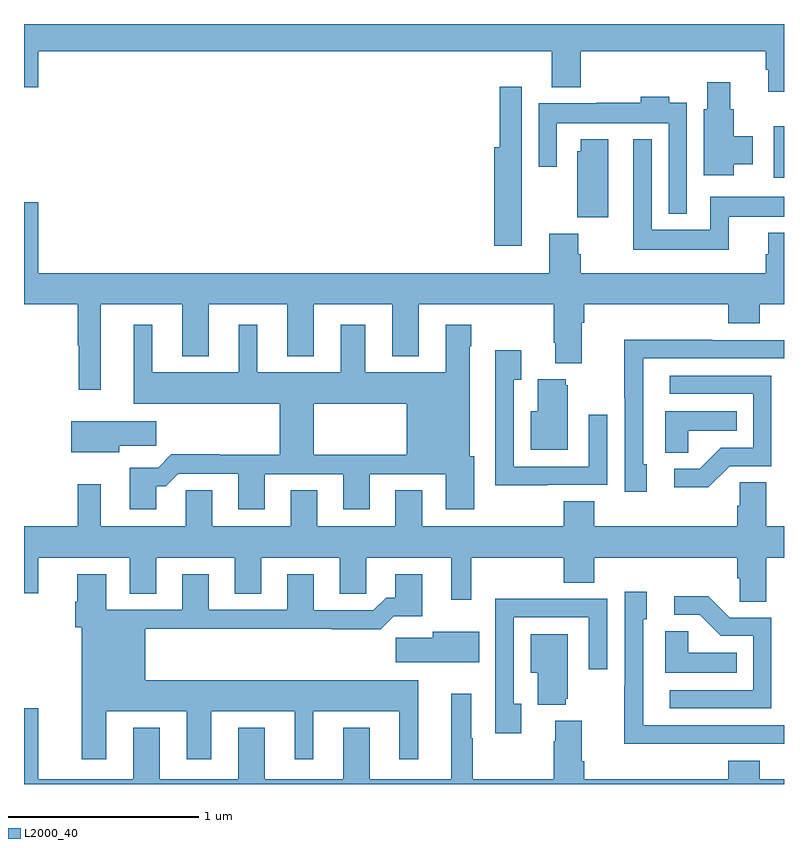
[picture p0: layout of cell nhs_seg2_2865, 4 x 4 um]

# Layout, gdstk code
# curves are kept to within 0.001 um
import gdstk
lib = gdstk.Library(unit=1e-6, precision=1e-09)
def R(c, l, rs):  # rectangles x0, y0, x1, y1
    for r in rs: c.add(gdstk.rectangle(r[:2], r[2:], *l))
def P(c, l, *ps):  # polygons
    for p in ps: c.add(gdstk.Polygon(p, *l))
L2000_40 = (2000, 40)

nhs_seg2_2865 = lib.new_cell('nhs_seg2_2865')
R(nhs_seg2_2865, L2000_40, [(264.947,626.99,265,627.262)])
P(nhs_seg2_2865, L2000_40, [(265,627.8),(261,627.8),(261,627.468),(261.076,627.468),(261.076,627.656),(263.777,627.656),(263.777,627.467),(263.93,627.467),(263.93,627.656),(264.905,627.656),(264.905,627.558),(264.917,627.558),(264.917,627.444),(265,627.444)],
  [(264.736,627.062),(264.835,627.062),(264.835,627.21),(264.736,627.21),(264.736,627.351),(264.718,627.351),(264.718,627.493),(264.596,627.493),(264.596,627.351),(264.578,627.351),(264.578,627.003),(264.736,627.003)],
  [(263.62,627.047),(263.619,627.047),(263.619,627.469),(263.503,627.469),(263.503,627.151),(263.474,627.151),(263.474,626.634),(263.62,626.634)],
  [(264.489,627.385),(264.397,627.385),(264.397,627.418),(264.245,627.418),(264.245,627.385),(264.013,627.385),(264.013,627.382),(263.709,627.382),(263.709,627.048),(263.805,627.048),(263.805,627.278),(264.393,627.278),(264.393,626.801),(264.489,626.801)],
  [(264.71,626.786),(265,626.786),(265,626.89),(264.612,626.89),(264.612,626.716),(264.303,626.716),(264.303,627.193),(264.206,627.193),(264.206,626.612),(264.71,626.612)],
  [(264.076,627.193),(263.93,627.193),(263.93,627.129),(263.912,627.129),(263.912,626.782),(264.076,626.782)],
  [(261.076,626.863),(261,626.863),(261,626.324),(261.282,626.324),(261.282,626.108),(261.289,626.108),(261.289,625.875),(261.403,625.875),(261.403,626.324),(261.833,626.324),(261.833,626.051),(261.973,626.051),(261.973,626.324),(262.385,626.324),(262.385,626.051),(262.525,626.051),(262.525,626.324),(262.937,626.324),(262.937,626.051),(263.077,626.051),(263.077,626.324),(263.788,626.324),(263.788,626.122),(263.795,626.122),(263.795,626.015),(263.935,626.015),(263.935,626.228),(263.948,626.228),(263.948,626.324),(264.707,626.324),(264.707,626.225),(264.872,626.225),(264.872,626.324),(265,626.324),(265,626.701),(264.917,626.701),(264.917,626.589),(264.905,626.589),(264.905,626.488),(263.93,626.488),(263.93,626.588),(263.917,626.588),(263.917,626.697),(263.765,626.697),(263.765,626.488),(261.076,626.488)],
  [(262.031,625.535),(261.776,625.535),(261.706,625.465),(261.557,625.465),(261.557,625.245),(261.697,625.245),(261.697,625.367),(261.746,625.367),(261.813,625.434),(262.127,625.434),(262.127,625.245),(262.267,625.245),(262.267,625.431),(262.679,625.431),(262.679,625.245),(262.819,625.245),(262.819,625.431),(263.219,625.431),(263.219,625.245),(263.371,625.245),(263.371,625.524),(263.347,625.524),(263.347,626.105),(263.355,626.105),(263.355,626.218),(263.219,626.218),(263.219,625.966),(262.795,625.966),(262.795,626.218),(262.667,626.218),(262.667,625.966),(262.228,625.966),(262.228,626.218),(262.13,626.218),(262.13,625.966),(261.676,625.966),(261.676,626.218),(261.578,626.218),(261.578,625.802),(262.346,625.802),(262.346,625.532),(262.524,625.532),(262.524,625.802),(263.015,625.802),(263.015,625.532),(262.031,625.532)],
  [(264.277,625.482),(264.258,625.482),(264.258,626.04),(265,626.04),(265,626.136),(264.623,626.136),(264.623,626.138),(264.16,626.138),(264.16,625.831),(264.162,625.831),(264.162,625.338),(264.277,625.338)],
  [(263.753,625.374),(264.069,625.374),(264.069,625.744),(263.973,625.744),(263.973,625.47),(263.577,625.47),(263.577,625.927),(263.617,625.927),(263.617,626.083),(263.48,626.083),(263.48,625.624),(263.481,625.624),(263.481,625.373),(263.753,625.373)],
  [(264.714,625.473),(264.933,625.473),(264.933,625.95),(264.399,625.95),(264.399,625.854),(264.837,625.854),(264.837,625.569),(264.668,625.569),(264.557,625.458),(264.423,625.458),(264.423,625.361),(264.601,625.361)],
  [(263.863,625.899),(263.852,625.899),(263.852,625.93),(263.705,625.93),(263.705,625.762),(263.666,625.762),(263.666,625.559),(263.863,625.559)],
  [(264.495,625.658),(264.752,625.658),(264.752,625.762),(264.374,625.762),(264.374,625.543),(264.495,625.543)],
  [(261.502,625.579),(261.697,625.579),(261.697,625.708),(261.248,625.708),(261.248,625.547),(261.502,625.547)],
  [(264.907,624.992),(265,624.992),(265,625.156),(264.907,625.156),(264.907,625.388),(264.768,625.388),(264.768,625.265),(264.755,625.265),(264.755,625.156),(264.002,625.156),(264.002,625.289),(263.842,625.289),(263.842,625.156),(263.095,625.156),(263.095,625.346),(262.955,625.346),(262.955,625.156),(262.543,625.156),(262.543,625.346),(262.403,625.346),(262.403,625.156),(261.991,625.156),(261.991,625.346),(261.852,625.346),(261.852,625.156),(261.403,625.156),(261.403,625.378),(261.282,625.378),(261.282,625.156),(261,625.156),(261,624.804),(261.076,624.804),(261.076,624.992),(261.557,624.992),(261.557,624.802),(261.697,624.802),(261.697,624.992),(262.109,624.992),(262.109,624.802),(262.249,624.802),(262.249,624.992),(262.661,624.992),(262.661,624.802),(262.8,624.802),(262.8,624.992),(263.249,624.992),(263.249,624.771),(263.353,624.771),(263.353,624.992),(263.842,624.992),(263.842,624.859),(264.002,624.859),(264.002,624.992),(264.755,624.992),(264.755,624.883),(264.768,624.883),(264.768,624.76),(264.907,624.76)],
  [(261.433,624.182),(261.857,624.182),(261.857,623.931),(261.985,623.931),(261.985,624.182),(262.424,624.182),(262.424,623.931),(262.522,623.931),(262.522,624.182),(262.976,624.182),(262.976,623.931),(263.074,623.931),(263.074,624.346),(261.637,624.346),(261.637,624.616),(262.621,624.616),(262.621,624.614),(262.877,624.614),(262.946,624.683),(263.095,624.683),(263.095,624.904),(262.955,624.904),(262.955,624.781),(262.906,624.781),(262.839,624.714),(262.525,624.714),(262.525,624.904),(262.385,624.904),(262.385,624.717),(261.973,624.717),(261.973,624.904),(261.833,624.904),(261.833,624.717),(261.433,624.717),(261.433,624.904),(261.281,624.904),(261.281,624.758),(261.269,624.758),(261.269,624.624),(261.305,624.624),(261.305,623.931),(261.433,623.931)],
  [(264.623,624.012),(265,624.012),(265,624.108),(264.258,624.108),(264.258,624.666),(264.277,624.666),(264.277,624.811),(264.162,624.811),(264.162,624.317),(264.16,624.317),(264.16,624.011),(264.623,624.011)],
  [(264.933,624.675),(264.714,624.675),(264.601,624.788),(264.423,624.788),(264.423,624.69),(264.557,624.69),(264.668,624.579),(264.837,624.579),(264.837,624.294),(264.399,624.294),(264.399,624.198),(264.933,624.198)],
  [(263.617,624.222),(263.577,624.222),(263.577,624.678),(263.973,624.678),(263.973,624.405),(264.069,624.405),(264.069,624.774),(263.753,624.774),(263.753,624.776),(263.481,624.776),(263.481,624.066),(263.617,624.066)],
  [(264.752,624.49),(264.495,624.49),(264.495,624.605),(264.374,624.605),(264.374,624.386),(264.752,624.386)],
  [(263.395,624.601),(263.15,624.601),(263.15,624.569),(262.956,624.569),(262.956,624.44),(263.395,624.44)],
  [(263.852,624.249),(263.863,624.249),(263.863,624.589),(263.666,624.589),(263.666,624.386),(263.705,624.386),(263.705,624.218),(263.852,624.218)],
  [(265,623.824),(264.872,623.824),(264.872,623.923),(264.707,623.923),(264.707,623.824),(263.948,623.824),(263.948,623.92),(263.935,623.92),(263.935,624.133),(263.795,624.133),(263.795,624.026),(263.788,624.026),(263.788,623.824),(263.363,623.824),(263.363,624.041),(263.353,624.041),(263.353,624.274),(263.249,624.274),(263.249,623.824),(262.819,623.824),(262.819,624.097),(262.679,624.097),(262.679,623.824),(262.267,623.824),(262.267,624.097),(262.127,624.097),(262.127,623.824),(261.715,623.824),(261.715,624.097),(261.575,624.097),(261.575,623.824),(261.076,623.824),(261.076,624.199),(261,624.199),(261,623.8),(265,623.8)])

lib.write_gds('nhs_seg2_2865.gds')
